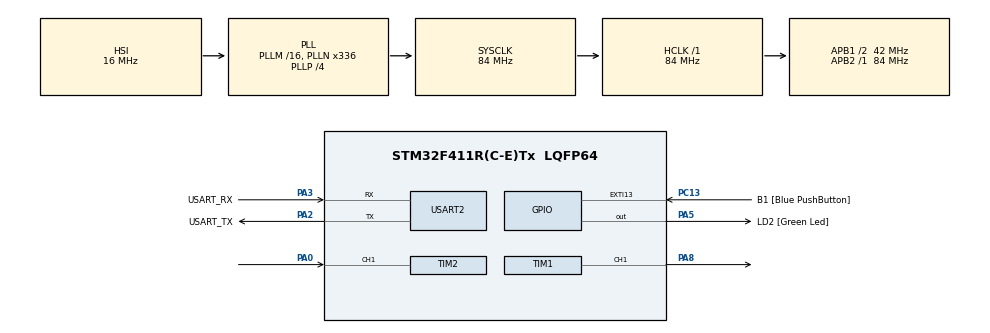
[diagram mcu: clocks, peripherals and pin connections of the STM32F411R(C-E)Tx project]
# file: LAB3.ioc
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Dma.Request0=TIM2_CH1
Dma.TIM2_CH1.0.Direction=DMA_PERIPH_TO_MEMORY
Dma.TIM2_CH1.0.FIFOMode=DMA_FIFOMODE_DISABLE
Dma.TIM2_CH1.0.Instance=DMA1_Stream5
Dma.TIM2_CH1.0.MemDataAlignment=DMA_MDATAALIGN_WORD
Dma.TIM2_CH1.0.MemInc=DMA_MINC_ENABLE
Dma.TIM2_CH1.0.Mode=DMA_CIRCULAR
Dma.TIM2_CH1.0.PeriphDataAlignment=DMA_PDATAALIGN_WORD
Dma.TIM2_CH1.0.PeriphInc=DMA_PINC_DISABLE
Dma.TIM2_CH1.0.Priority=DMA_PRIORITY_LOW
Mcu.Family=STM32F4
Mcu.Name=STM32F411R(C-E)Tx
Mcu.Package=LQFP64
NVIC.DMA1_Stream5_IRQn=true\:0\:0\:false\:false\:true\:false\:true\:true
NVIC.PriorityGroup=NVIC_PRIORITYGROUP_0
PA0-WKUP.Signal=S_TIM2_CH1_ETR
PA13.GPIO_Label=TMS
PA13.Mode=Serial_Wire
PA13.Signal=SYS_JTMS-SWDIO
PA14.GPIO_Label=TCK
PA14.Mode=Serial_Wire
PA14.Signal=SYS_JTCK-SWCLK
PA2.GPIO_Label=USART_TX
PA2.Mode=Asynchronous
PA2.Signal=USART2_TX
PA3.GPIO_Label=USART_RX
PA3.Mode=Asynchronous
PA3.Signal=USART2_RX
PA5.GPIO_Label=LD2 [Green Led]
PA5.Signal=GPIO_Output
PA8.Signal=S_TIM1_CH1
PB3.GPIO_Label=SWO
PB3.Signal=SYS_JTDO-SWO
PC13-ANTI_TAMP.GPIO_Label=B1 [Blue PushButton]
PC13-ANTI_TAMP.GPIO_ModeDefaultEXTI=GPIO_MODE_IT_FALLING
PC13-ANTI_TAMP.Signal=GPXTI13
PC14-OSC32_IN.Mode=LSE-External-Oscillator
PC14-OSC32_IN.Signal=RCC_OSC32_IN
PC15-OSC32_OUT.Mode=LSE-External-Oscillator
PC15-OSC32_OUT.Signal=RCC_OSC32_OUT
PH0\ -\ OSC_IN.Mode=HSE-External-Clock-Source
PH0\ -\ OSC_IN.Signal=RCC_OSC_IN
PH1\ -\ OSC_OUT.Mode=HSE-External-Clock-Source
PH1\ -\ OSC_OUT.Signal=RCC_OSC_OUT
ProjectManager.HeapSize=0x200
ProjectManager.StackSize=0x400
ProjectManager.TargetToolchain=STM32CubeIDE
RCC.48MHZClocksFreq_Value=84000000
RCC.AHBFreq_Value=84000000
RCC.APB1CLKDivider=RCC_HCLK_DIV2
RCC.APB1Freq_Value=42000000
RCC.APB1TimFreq_Value=84000000
RCC.APB2Freq_Value=84000000
RCC.APB2TimFreq_Value=84000000
RCC.CortexFreq_Value=84000000
RCC.FLatency-AdvancedSettings=FLASH_LATENCY_2
RCC.HCLKFreq_Value=84000000
RCC.HSE_VALUE=8000000
RCC.HSI_VALUE=16000000
RCC.PLLN=336
RCC.PLLP=RCC_PLLP_DIV4
RCC.SYSCLKFreq_VALUE=84000000
RCC.SYSCLKSource=RCC_SYSCLKSOURCE_PLLCLK
RCC.VCOOutputFreq_Value=336000000
SH.S_TIM1_CH1.0=TIM1_CH1,PWM Generation1 CH1
SH.S_TIM2_CH1_ETR.0=TIM2_CH1,Input_Capture1_from_TI1
TIM1.Channel-PWM\ Generation1\ CH1=TIM_CHANNEL_1
TIM1.Period=1000
TIM1.Prescaler=83
TIM1.Pulse-PWM\ Generation1\ CH1=500
TIM2.Channel-Input_Capture1_from_TI1=TIM_CHANNEL_1
TIM2.Prescaler=83
USART2.VirtualMode=VM_ASYNC
VP_TIM1_VS_ClockSourceINT.Mode=Internal
VP_TIM2_VS_ClockSourceINT.Mode=Internal
board=NUCLEO-F411RE

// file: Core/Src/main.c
/* USER CODE BEGIN Header */
/**
 ******************************************************************************
 * @file           : main.c
 * @brief          : Main program body
 ******************************************************************************
 * @attention
 *
 * Copyright (c) 2023 STMicroelectronics.
 * All rights reserved.
 *
 * This software is licensed under terms that can be found in the LICENSE file
 * in the root directory of this software component.
 * If no LICENSE file comes with this software, it is provided AS-IS.
 *
 ******************************************************************************
 */
/* USER CODE END Header */
#include "main.h"

/* USER CODE BEGIN Includes */
#define IC_BUFFER_SIZE 20
//tanapat
/* USER CODE END Includes */

TIM_HandleTypeDef htim1;
TIM_HandleTypeDef htim2;
DMA_HandleTypeDef hdma_tim2_ch1;

UART_HandleTypeDef huart2;

/* USER CODE BEGIN PV */
uint32_t InputCaptureBuffer[IC_BUFFER_SIZE];
float Rpm;
int32_t duty = 500;
int MotorSetDuty;
int MotorControlEnable;
int MortorSetRPM;
int A = 0;
/* USER CODE END PV */

void SystemClock_Config(void);
static void MX_GPIO_Init(void);
static void MX_DMA_Init(void);
static void MX_USART2_UART_Init(void);
static void MX_TIM2_Init(void);
static void MX_TIM1_Init(void);
/* USER CODE BEGIN PFP */
float IC_Calc_Period();
/* USER CODE END PFP */

int main(void)
{

  /* MCU Configuration--------------------------------------------------------*/

  /* Reset of all peripherals, Initializes the Flash interface and the Systick. */
  HAL_Init();

  /* Configure the system clock */
  SystemClock_Config();

  /* Initialize all configured peripherals */
  MX_GPIO_Init();
  MX_DMA_Init();
  MX_USART2_UART_Init();
  MX_TIM2_Init();
  MX_TIM1_Init();
  /* USER CODE BEGIN 2 */
	HAL_TIM_Base_Start(&htim2);
	HAL_TIM_IC_Start_DMA(&htim2, TIM_CHANNEL_1, InputCaptureBuffer,
			IC_BUFFER_SIZE);

	HAL_TIM_Base_Start(&htim1);
	HAL_TIM_PWM_Start(&htim1, TIM_CHANNEL_1);
  /* USER CODE END 2 */

  /* Infinite loop */
	while (1) {

    /* USER CODE BEGIN 3 */
		static uint32_t timestamp = 0;
		if (HAL_GetTick() >= timestamp) {

			timestamp = HAL_GetTick() + 500;
			Rpm = IC_Calc_Period();
			if (MotorControlEnable == 0) {
				if (MotorSetDuty == 0) {
					duty = 0;
					__HAL_TIM_SET_COMPARE(&htim1, TIM_CHANNEL_1, duty);
				} else if (MotorSetDuty > 0) {
					duty = MotorSetDuty * 10;
					__HAL_TIM_SET_COMPARE(&htim1, TIM_CHANNEL_1, duty);
				}
			}

			else if (MotorControlEnable == 1) {
				if (Rpm <= 0) {
					duty = duty + 5;
				} else if (Rpm < MortorSetRPM && MortorSetRPM != 0) {
					duty = duty + (10);
					__HAL_TIM_SET_COMPARE(&htim1, TIM_CHANNEL_1, duty);
				}

				else if (Rpm > MortorSetRPM && MortorSetRPM != 0) {
					duty = duty - (10);
					__HAL_TIM_SET_COMPARE(&htim1, TIM_CHANNEL_1, duty);
				} else if (MortorSetRPM == 0) {
					duty = 0;
					Rpm = 0;
					__HAL_TIM_SET_COMPARE(&htim1, TIM_CHANNEL_1, duty);
				}

				if (duty <= 0) {
					duty += 10;
					__HAL_TIM_SET_COMPARE(&htim1, TIM_CHANNEL_1, duty);
				}

			}

		}

	}

  /* USER CODE END 3 */
}

void SystemClock_Config(void)
{
  RCC_OscInitTypeDef RCC_OscInitStruct = {0};
  RCC_ClkInitTypeDef RCC_ClkInitStruct = {0};

  /** Configure the main internal regulator output voltage
  */
  __HAL_RCC_PWR_CLK_ENABLE();
  __HAL_PWR_VOLTAGESCALING_CONFIG(PWR_REGULATOR_VOLTAGE_SCALE1);

  /** Initializes the RCC Oscillators according to the specified parameters
  * in the RCC_OscInitTypeDef structure.
  */
  RCC_OscInitStruct.OscillatorType = RCC_OSCILLATORTYPE_HSI;
  RCC_OscInitStruct.HSIState = RCC_HSI_ON;
  RCC_OscInitStruct.HSICalibrationValue = RCC_HSICALIBRATION_DEFAULT;
  RCC_OscInitStruct.PLL.PLLState = RCC_PLL_ON;
  RCC_OscInitStruct.PLL.PLLSource = RCC_PLLSOURCE_HSI;
  RCC_OscInitStruct.PLL.PLLM = 16;
  RCC_OscInitStruct.PLL.PLLN = 336;
  RCC_OscInitStruct.PLL.PLLP = RCC_PLLP_DIV4;
  RCC_OscInitStruct.PLL.PLLQ = 4;
  if (HAL_RCC_OscConfig(&RCC_OscInitStruct) != HAL_OK)
  {
    Error_Handler();
  }

  /** Initializes the CPU, AHB and APB buses clocks
  */
  RCC_ClkInitStruct.ClockType = RCC_CLOCKTYPE_HCLK|RCC_CLOCKTYPE_SYSCLK
                              |RCC_CLOCKTYPE_PCLK1|RCC_CLOCKTYPE_PCLK2;
  RCC_ClkInitStruct.SYSCLKSource = RCC_SYSCLKSOURCE_PLLCLK;
  RCC_ClkInitStruct.AHBCLKDivider = RCC_SYSCLK_DIV1;
  RCC_ClkInitStruct.APB1CLKDivider = RCC_HCLK_DIV2;
  RCC_ClkInitStruct.APB2CLKDivider = RCC_HCLK_DIV1;

  if (HAL_RCC_ClockConfig(&RCC_ClkInitStruct, FLASH_LATENCY_2) != HAL_OK)
  {
    Error_Handler();
  }
}

static void MX_TIM1_Init(void)
{

  TIM_ClockConfigTypeDef sClockSourceConfig = {0};
  TIM_MasterConfigTypeDef sMasterConfig = {0};
  TIM_OC_InitTypeDef sConfigOC = {0};
  TIM_BreakDeadTimeConfigTypeDef sBreakDeadTimeConfig = {0};

  htim1.Instance = TIM1;
  htim1.Init.Prescaler = 83;
  htim1.Init.CounterMode = TIM_COUNTERMODE_UP;
  htim1.Init.Period = 1000;
  htim1.Init.ClockDivision = TIM_CLOCKDIVISION_DIV1;
  htim1.Init.RepetitionCounter = 0;
  htim1.Init.AutoReloadPreload = TIM_AUTORELOAD_PRELOAD_DISABLE;
  if (HAL_TIM_Base_Init(&htim1) != HAL_OK)
  {
    Error_Handler();
  }
  sClockSourceConfig.ClockSource = TIM_CLOCKSOURCE_INTERNAL;
  if (HAL_TIM_ConfigClockSource(&htim1, &sClockSourceConfig) != HAL_OK)
  {
    Error_Handler();
  }
  if (HAL_TIM_PWM_Init(&htim1) != HAL_OK)
  {
    Error_Handler();
  }
  sMasterConfig.MasterOutputTrigger = TIM_TRGO_RESET;
  sMasterConfig.MasterSlaveMode = TIM_MASTERSLAVEMODE_DISABLE;
  if (HAL_TIMEx_MasterConfigSynchronization(&htim1, &sMasterConfig) != HAL_OK)
  {
    Error_Handler();
  }
  sConfigOC.OCMode = TIM_OCMODE_PWM1;
  sConfigOC.Pulse = 500;
  sConfigOC.OCPolarity = TIM_OCPOLARITY_HIGH;
  sConfigOC.OCNPolarity = TIM_OCNPOLARITY_HIGH;
  sConfigOC.OCFastMode = TIM_OCFAST_DISABLE;
  sConfigOC.OCIdleState = TIM_OCIDLESTATE_RESET;
  sConfigOC.OCNIdleState = TIM_OCNIDLESTATE_RESET;
  if (HAL_TIM_PWM_ConfigChannel(&htim1, &sConfigOC, TIM_CHANNEL_1) != HAL_OK)
  {
    Error_Handler();
  }
  sBreakDeadTimeConfig.OffStateRunMode = TIM_OSSR_DISABLE;
  sBreakDeadTimeConfig.OffStateIDLEMode = TIM_OSSI_DISABLE;
  sBreakDeadTimeConfig.LockLevel = TIM_LOCKLEVEL_OFF;
  sBreakDeadTimeConfig.DeadTime = 0;
  sBreakDeadTimeConfig.BreakState = TIM_BREAK_DISABLE;
  sBreakDeadTimeConfig.BreakPolarity = TIM_BREAKPOLARITY_HIGH;
  sBreakDeadTimeConfig.AutomaticOutput = TIM_AUTOMATICOUTPUT_DISABLE;
  if (HAL_TIMEx_ConfigBreakDeadTime(&htim1, &sBreakDeadTimeConfig) != HAL_OK)
  {
    Error_Handler();
  }
  HAL_TIM_MspPostInit(&htim1);

}

static void MX_TIM2_Init(void)
{

  TIM_ClockConfigTypeDef sClockSourceConfig = {0};
  TIM_MasterConfigTypeDef sMasterConfig = {0};
  TIM_IC_InitTypeDef sConfigIC = {0};

  htim2.Instance = TIM2;
  htim2.Init.Prescaler = 83;
  htim2.Init.CounterMode = TIM_COUNTERMODE_UP;
  htim2.Init.Period = 4294967295;
  htim2.Init.ClockDivision = TIM_CLOCKDIVISION_DIV1;
  htim2.Init.AutoReloadPreload = TIM_AUTORELOAD_PRELOAD_DISABLE;
  if (HAL_TIM_Base_Init(&htim2) != HAL_OK)
  {
    Error_Handler();
  }
  sClockSourceConfig.ClockSource = TIM_CLOCKSOURCE_INTERNAL;
  if (HAL_TIM_ConfigClockSource(&htim2, &sClockSourceConfig) != HAL_OK)
  {
    Error_Handler();
  }
  if (HAL_TIM_IC_Init(&htim2) != HAL_OK)
  {
    Error_Handler();
  }
  sMasterConfig.MasterOutputTrigger = TIM_TRGO_RESET;
  sMasterConfig.MasterSlaveMode = TIM_MASTERSLAVEMODE_DISABLE;
  if (HAL_TIMEx_MasterConfigSynchronization(&htim2, &sMasterConfig) != HAL_OK)
  {
    Error_Handler();
  }
  sConfigIC.ICPolarity = TIM_INPUTCHANNELPOLARITY_RISING;
  sConfigIC.ICSelection = TIM_ICSELECTION_DIRECTTI;
  sConfigIC.ICPrescaler = TIM_ICPSC_DIV1;
  sConfigIC.ICFilter = 0;
  if (HAL_TIM_IC_ConfigChannel(&htim2, &sConfigIC, TIM_CHANNEL_1) != HAL_OK)
  {
    Error_Handler();
  }

}

static void MX_USART2_UART_Init(void)
{

  huart2.Instance = USART2;
  huart2.Init.BaudRate = 115200;
  huart2.Init.WordLength = UART_WORDLENGTH_8B;
  huart2.Init.StopBits = UART_STOPBITS_1;
  huart2.Init.Parity = UART_PARITY_NONE;
  huart2.Init.Mode = UART_MODE_TX_RX;
  huart2.Init.HwFlowCtl = UART_HWCONTROL_NONE;
  huart2.Init.OverSampling = UART_OVERSAMPLING_16;
  if (HAL_UART_Init(&huart2) != HAL_OK)
  {
    Error_Handler();
  }

}

static void MX_DMA_Init(void)
{

  /* DMA controller clock enable */
  __HAL_RCC_DMA1_CLK_ENABLE();

  /* DMA interrupt init */
  /* DMA1_Stream5_IRQn interrupt configuration */
  HAL_NVIC_SetPriority(DMA1_Stream5_IRQn, 0, 0);
  HAL_NVIC_EnableIRQ(DMA1_Stream5_IRQn);

}

static void MX_GPIO_Init(void)
{
  GPIO_InitTypeDef GPIO_InitStruct = {0};

  /* GPIO Ports Clock Enable */
  __HAL_RCC_GPIOC_CLK_ENABLE();
  __HAL_RCC_GPIOH_CLK_ENABLE();
  __HAL_RCC_GPIOA_CLK_ENABLE();
  __HAL_RCC_GPIOB_CLK_ENABLE();

  /*Configure GPIO pin Output Level */
  HAL_GPIO_WritePin(LD2_GPIO_Port, LD2_Pin, GPIO_PIN_RESET);

  /*Configure GPIO pin : B1_Pin */
  GPIO_InitStruct.Pin = B1_Pin;
  GPIO_InitStruct.Mode = GPIO_MODE_IT_FALLING;
  GPIO_InitStruct.Pull = GPIO_NOPULL;
  HAL_GPIO_Init(B1_GPIO_Port, &GPIO_InitStruct);

  /*Configure GPIO pin : LD2_Pin */
  GPIO_InitStruct.Pin = LD2_Pin;
  GPIO_InitStruct.Mode = GPIO_MODE_OUTPUT_PP;
  GPIO_InitStruct.Pull = GPIO_NOPULL;
  GPIO_InitStruct.Speed = GPIO_SPEED_FREQ_LOW;
  HAL_GPIO_Init(LD2_GPIO_Port, &GPIO_InitStruct);

}

/* USER CODE BEGIN 4 */
float IC_Calc_Period() {

	uint32_t currentDMAPointer = IC_BUFFER_SIZE
			- __HAL_DMA_GET_COUNTER((htim2.hdma[1]));

	uint32_t lastVaildDMAPointer = (currentDMAPointer - 1 + IC_BUFFER_SIZE)
			% IC_BUFFER_SIZE;

	uint32_t i = (lastVaildDMAPointer + IC_BUFFER_SIZE - 5) % IC_BUFFER_SIZE;

	int32_t sumdiff = 0;
	while (i != lastVaildDMAPointer) {

		uint32_t firstCapture = InputCaptureBuffer[i];

		uint32_t NextCapture = InputCaptureBuffer[(i + 1) % IC_BUFFER_SIZE];
		sumdiff += NextCapture - firstCapture;
		i = (i + 1) % IC_BUFFER_SIZE;

	}

	return (60 * 1000000) / (12 * 64 * (sumdiff / 5.0));
}
/* USER CODE END 4 */

void Error_Handler(void)
{
	__disable_irq();
	while (1) {
	}
}
